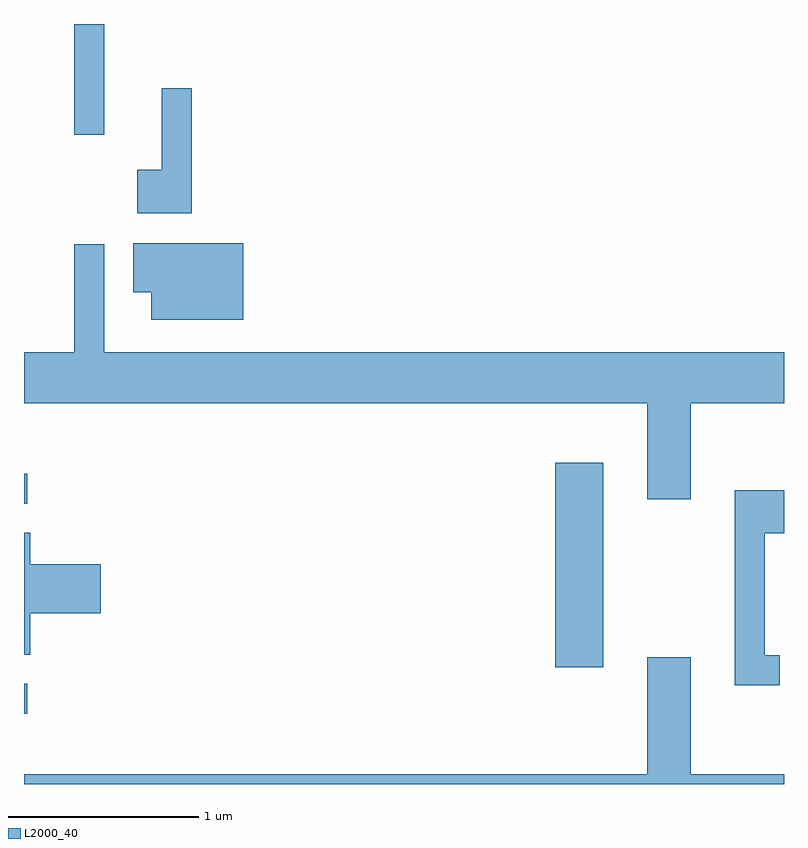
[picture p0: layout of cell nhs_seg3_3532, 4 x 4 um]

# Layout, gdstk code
import gdstk
lib = gdstk.Library(unit=1e-6, precision=1e-09)
def R(c, l, rs):  # rectangles x0, y0, x1, y1
    for r in rs: c.add(gdstk.rectangle(r[:2], r[2:], *l))
def P(c, l, *ps):  # polygons
    for p in ps: c.add(gdstk.Polygon(p, *l))
L2000_40 = (2000, 40)

nhs_seg3_3532 = lib.new_cell('nhs_seg3_3532')
R(nhs_seg3_3532, L2000_40, [(287.611,1244.261,287.628,1244.419), (290.406,1244.506,290.659,1245.584), (287.611,1245.366,287.628,1245.524), (287.876,1247.308,288.034,1247.892)])
P(nhs_seg3_3532, L2000_40, [(288.494,1247.553),(288.336,1247.553),(288.336,1247.124),(288.206,1247.124),(288.206,1246.896),(288.494,1246.896)],
  [(288.764,1246.739),(288.186,1246.739),(288.186,1246.481),(288.281,1246.481),(288.281,1246.336),(288.764,1246.336)],
  [(291.119,1245.896),(291.611,1245.896),(291.611,1246.164),(288.034,1246.164),(288.034,1246.733),(287.876,1246.733),(287.876,1246.164),(287.611,1246.164),(287.611,1245.896),(290.891,1245.896),(290.891,1245.391),(291.119,1245.391)],
  [(291.588,1244.569),(291.509,1244.569),(291.509,1245.211),(291.611,1245.211),(291.611,1245.439),(291.351,1245.439),(291.351,1244.411),(291.588,1244.411)],
  [(287.644,1244.791),(288.014,1244.791),(288.014,1245.049),(287.644,1245.049),(287.644,1245.214),(287.611,1245.214),(287.611,1244.571),(287.644,1244.571)],
  [(291.611,1243.944),(291.119,1243.944),(291.119,1244.559),(290.891,1244.559),(290.891,1243.944),(287.611,1243.944),(287.611,1243.892),(291.611,1243.892)])

lib.write_gds('nhs_seg3_3532.gds')
